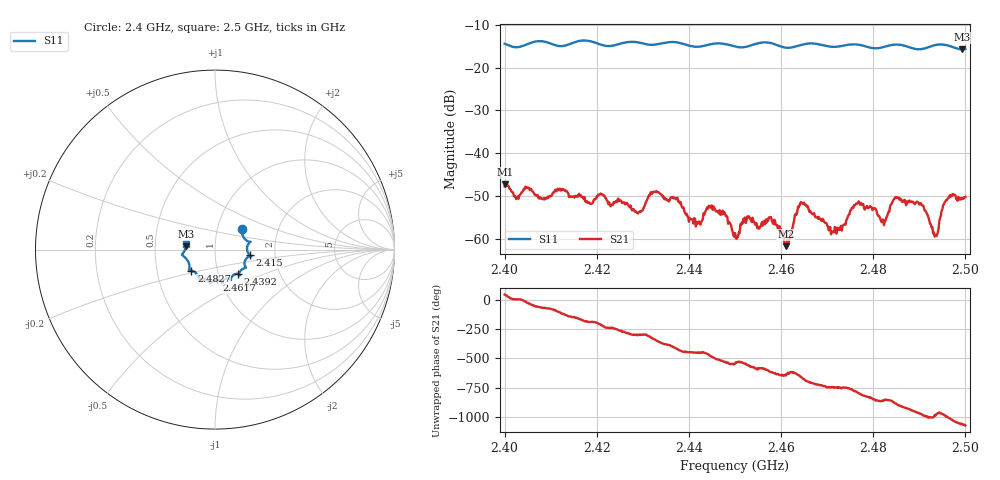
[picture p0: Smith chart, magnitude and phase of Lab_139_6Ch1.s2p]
# Hz S RI R 50
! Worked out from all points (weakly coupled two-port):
!   601 points, 2.4 GHz to 2.5 GHz, reference 50 ohm
!   highest |S21| = -47.23 dB at 2.4002 GHz (marker M1); lowest = -61.7 dB at 2.461 GHz (marker M2)
!   lowest |S11| = -15.7 dB at 2.4993 GHz (marker M3), VSWR 1.39, Z = 36 + j1.43 ohm
!   |S11| at or under -10 dB: start of sweep to end of sweep
!   S12 and S22 are empty: the file has one direction only
!   S11 on the Smith chart (normalised r, x): 2.4 GHz: 1.31, +0.31; 2.415 GHz: 1.48, -0.10; 2.4392 GHz: 1.24, -0.35; 2.4617 GHz: 0.96, -0.34; 2.4827 GHz: 0.75, -0.18; 2.5 GHz: 0.72, +0.05
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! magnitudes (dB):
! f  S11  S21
! 2.4 GHz  -14.4  -47.7
! 2.4002 GHz  -14.5  -47.2
! 2.415 GHz  -14.2  -50.1
! 2.4167 GHz  -13.7  -50.2
! 2.429 GHz  -14.1  -54.0
! 2.4333 GHz  -14.5  -49.1
! 2.4392 GHz  -14.6  -54.0
! 2.445 GHz  -14.5  -52.2
! 2.45 GHz  -15.1  -58.6
! 2.4575 GHz  -14.2  -55.0
! 2.461 GHz  -15.3  -61.7
! 2.4617 GHz  -15.4  -60.8
! 2.4642 GHz  -14.8  -51.7
! 2.4667 GHz  -14.3  -54.0
! 2.471 GHz  -15.1  -58.4
! 2.4827 GHz  -15.1  -55.7
! 2.4833 GHz  -14.9  -53.6
! 2.4898 GHz  -15.7  -51.6
! 2.4935 GHz  -14.7  -59.1
! 2.4962 GHz  -14.8  -50.6
! 2.4993 GHz  -15.7  -50.5
! 2.5 GHz  -15.6  -50.2
